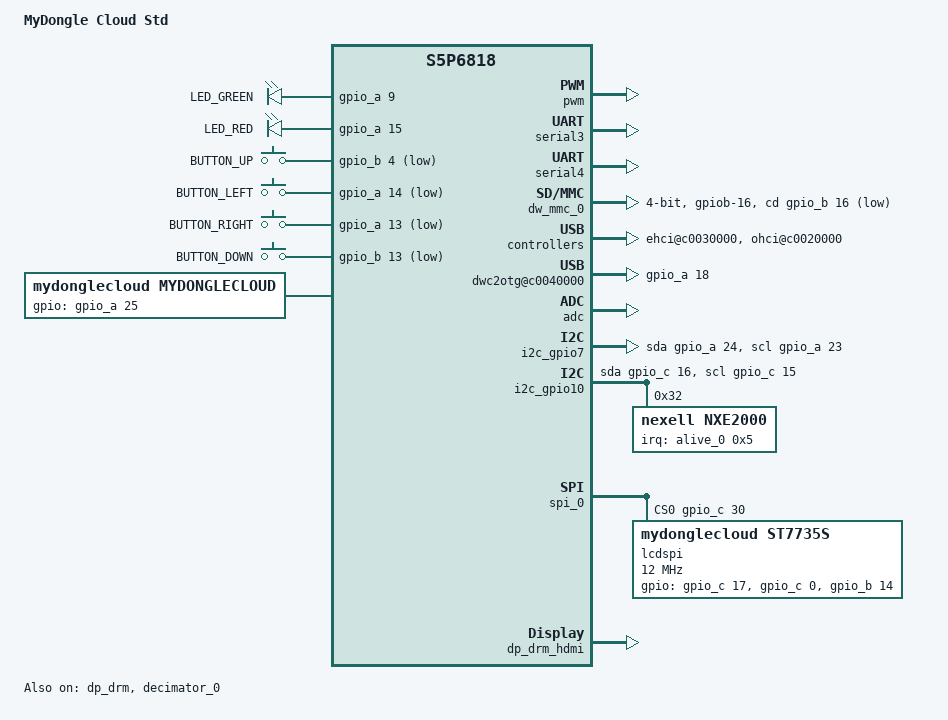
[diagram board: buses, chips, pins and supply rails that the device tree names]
/*
 * Copyright (C) 2016  Nexell Co., Ltd.
 * Author:Youngbok, Park <ybpark@nexell.co.kr>
 *
 * This program is free software; you can redistribute it and/or
 * modify it under the terms of the GNU General Public License
 * as published by the Free Software Foundation; either version 2
 * of the License, or (at your option) any later version.
 *
 * This program is distributed in the hope that it will be useful,
 * but WITHOUT ANY WARRANTY; without even the implied warranty of
 * MERCHANTABILITY or FITNESS FOR A PARTICULAR PURPOSE.  See the
 * GNU General Public License for more details.
 *
 * You should have received a copy of the GNU General Public License
 * along with this program.  If not, see <http://www.gnu.org/licenses/>.
 */

/dts-v1/;
#include <dt-bindings/interrupt-controller/irq.h>
#include <dt-bindings/input/input.h>
#include "s5p6818-artik710.dtsi"

#define PMIC_PDATA_INIT(_id, _rname, _minuv,	\
			_maxuv, _init_uv, _init_enable,		\
			_set_init_uV, _slp_slots)	\
		regulator-name = _rname;		\
		regulator-min-microvolt = <_minuv>;	\
		regulator-max-microvolt = <_maxuv>;	\
		nx,id = <_id>;				\
		nx,init_enable = <_init_enable>;	\
		nx,init_uV = <_init_uv>;		\
		nx,set_init_uV = <_set_init_uV>;	\
		nx,sleep_slots = <_slp_slots>;

/ {
	model = "MyDongle Cloud Std";
	version = "10";
	compatible = "mydonglecloud,artik710-mydonglecloud", "samsung,artik710",
		   "nexell,s5p6818";

	aliases {
		i2c7 = &i2c_gpio7;//HDMI
		i2c10 = &i2c_gpio10;//PMIC
	};

	nx-v4l2 {
		status = "okay";
	};

	nx-devfreq {
		pll = <0>;
		status = "okay";
	};

	soc {

		clocks {
			vip0:vip@c00c1000 { clock-frequency = <300000000>;};
			sdhc0:sdhc@c00c5000 {
				  clk-input = <(I_PLL2 | I_GATE_PCLK)>;
			};
			sdhc1:sdhc@c00cc000 {
				  clk-input = <(I_PLL2 | I_GATE_PCLK)>;
			};
			sdhc2:sdhc@c00cd000 {
				  clk-input = <(I_PLL2 | I_GATE_PCLK)>;
			};
			timer0:timer@c00b9000 {
				  clk-input = <I_PLL2>;
			};
			timer1:timer@c00bb000 {
				  clk-input = <I_PLL2>;
			};
			pwm0:pwm0@c00ba000 {
				  clk-input = <I_PLL2>;
			};
		};

		timer@c0017000 {
			clocks =  <&timer0>, <&timer1>;
			clock-names = "timer0", "timer1";
		};

		pwm:pwm@c0018000 {
			clocks =  <&pwm0>;
			clock-names = "pwm-tclk0";
			#pwm-cells = <3>;
			pinctrl-0 = <&pwm0_pin>;
			samsung,pwm-outputs = <0>;
		};


		serial3:serial@c00a3000 {
			status ="okay";
		};

		serial4:serial@c006d000 {
			status ="okay";
		};

		dw_mmc_0:dw_mmc@c0062000 {
			num-slots = <1>;
			bus-width = <4>;
			cap-sd-highspeed;
			clock-frequency = <100000000>;
			card-detect-delay = <200>;
			disable-wp;
			cd-gpios = <&gpio_b 16 1>;
			//cd-inverted;
			pinctrl-0 = <&sdmmc0_cclk &sdmmc0_cmd &sdmmc0_bus4 &sdcard_cd>;
			nexell,drive_dly = <0x0>;
			nexell,drive_shift = <0x02>;
			nexell,sample_dly = <0x00>;
			nexell,sample_shift = <0x01>;
			status = "okay";
		};

		nexell_usbphy:nexell-usbphy@c0012000 {
			status = "okay";
		};

		ehci@c0030000 {
			samsung,vbus-gpio = <&gpio_a 16 0>;
			status = "okay";
			port@0 {
				status = "okay";
			};
			port@1 {
				status = "okay";
			};
		};

		ohci@c0020000 {
			status = "okay";
			port@0 {
				status = "okay";
			};
		};

		dwc2otg@c0040000 {
			gpios = <&gpio_a 18 0>;
			status = "okay";
		};

		adc:adc@c0053000 {
			status = "okay";
		};

		watchdog@c0019000 {
			status = "okay";
		};

		pinctrl@C0010000 {
			key_pwr:key_pwr {
				nexell,pins = "alive-0";
				nexell,pin-function = <0>;
				nexell,pin-pull = <1>;
				nexell,pin-strength = <0>;
			};

			key_wakeup:key_wakeup {
				nexell,pins = "alive-2";
				nexell,pin-function = <0>;
				nexell,pin-pull = <1>;
				nexell,pin-strength = <0>;
			};

			button_Up:button_Up {
				nexell,pins = "gpiob-4";
				nexell,pin-function = <0>;
				nexell,pin-pull = <1>;
				nexell,pin-strength = <0>;
			};
			button_Down:button_Down {
				nexell,pins = "gpiob-13";
				nexell,pin-function = <0>;
				nexell,pin-pull = <1>;
				nexell,pin-strength = <0>;
			};
			button_Left:button_Left {
				nexell,pins = "gpioa-14";
				nexell,pin-function = <0>;
				nexell,pin-pull = <1>;
				nexell,pin-strength = <0>;
			};
			button_Right:button_Right {
				nexell,pins = "gpioa-13";
				nexell,pin-function = <0>;
				nexell,pin-pull = <1>;
				nexell,pin-strength = <0>;
			};

			led_Green:led_Green {
				nexell,pins = "gpioa-9";
				nexell,pin-function = <0>;
				nexell,pin-pull = <1>;
				nexell,pin-strength = <0>;
			};
			led_Red:led_Red {
				nexell,pins = "gpioa-15";
				nexell,pin-function = <0>;
				nexell,pin-pull = <1>;
				nexell,pin-strength = <0>;
			};

			lcdspi_Bcklit:lcdspi_Bcklit {
				nexell,pins = "gpioc-17";
				nexell,pin-function = <0>;
				nexell,pin-pull = <1>;
				nexell,pin-strength = <0>;
			};
			lcdspi_Wd:lcdspi_Wd {
				nexell,pins = "gpioc-0";
				nexell,pin-function = <0>;
				nexell,pin-pull = <1>;
				nexell,pin-strength = <0>;
			};
			lcdspi_Nrst:lcdspi_Nrst {
				nexell,pins = "gpiob-14";
				nexell,pin-function = <0>;
				nexell,pin-pull = <1>;
				nexell,pin-strength = <0>;
			};
			cc_Nrst:cc_Nrst {
				nexell,pins = "gpioa-25";
				nexell,pin-function = <0>;
				nexell,pin-pull = <1>;
				nexell,pin-strength = <0>;
			};

			pmic_irq:pmic_irq{
				nexell,pins = "alive-5";
				nexell,pin-function = <0>;
				nexell,pin-pull = <1>;
				nexell,pin-strength = <0>;
			};

			sdcard_cd:sdcard_cd {
				nexell,pins = "gpiob-16";
				nexell,pin-function = <2>;
				nexell,pin-pull = <1>;
				nexell,pin-strength = <3>;
			};

		};

		video-codec@c0080000 {
			status = "okay";
			sram = <0 0>;
		};

		vip_0:vip@c0063000 {
			status = "okay";
		};

		scaler@c0066000 {
			status = "okay";
		};
	};	/*** soc ***/

	i2c_gpio7:i2c@7 {//HDMI
		compatible = "i2c-gpio";
		gpios = <&gpio_a 24 0 /* sda */
			&gpio_a 23 0 /* scl */
			>;
		i2c-gpio,delay-us = <1>;
		#address-cells = <1>;
		#size-cells = <0>;
	};

	gpio_led:gpio_leds {
		compatible = "gpio-leds";
		#address-cells = <1>;
		#size-cells = <0>;
		pinctrl-names = "default";
		pinctrl-0 = <&led_Green>, <&led_Red>;
		status = "okay";

		ledGreen: ledGreen {
			label = "LED_GREEN";
			gpios = <&gpio_a 9 0>;
			linux,default-trigger = "none";
		};
		ledRed: ledRed {
			label = "LED_RED";
			gpios = <&gpio_a 15 0>;
			linux,default-trigger = "none";
		};
	};

	gpio_key:gpio_keys {
		compatible = "gpio-keys";
		#address-cells = <1>;
		#size-cells = <0>;
		pinctrl-names = "default";
		pinctrl-0 = <&button_Up>, <&button_Down>, <&button_Left>, <&button_Right>;
		autorepeat;

		buttonUp:buttonUp {
			label = "BUTTON_UP";
			gpios = <&gpio_b 4 1>;
			linux,code = <103>;
			gpio-key;
		};

		buttonleft:buttonLeft {
			label = "BUTTON_LEFT";
			gpios = <&gpio_a 14 1>;
			linux,code = <105>;
			gpio-key;
		};

		buttonRight:buttonRight {
			label = "BUTTON_RIGHT";
			gpios = <&gpio_a 13 1>;
			linux,code = <106>;
			gpio-key;
		};

		buttonDown:buttonDown {
			label = "BUTTON_DOWN";
			gpios = <&gpio_b 13 1>;
			linux,code = <108>;
			gpio-key;
		};

	};

	i2c_gpio10:i2c@10 {//PMIC
		compatible = "i2c-gpio";
		gpios = <&gpio_c 16 0	/* sda */
			&gpio_c 15 0	/* scl */
			>;

		i2c-gpio,delay-us = <1>;	/* ~100kHz */
		#address-cells = <1>;
		#size-cells = <0>;
		status = "okay";

		nxe2000@32 {
			compatible = "nexell,nxe2000";
			reg = <0x32>;
			interrupt-parent = <&alive_0>;
			interrupts = <0x5 IRQ_TYPE_EDGE_FALLING>;
			pinctrl-names = "default";
			pinctrl-0 = <&pmic_irq>;
		};
	};

	regulators {
		VCC_DCDC0:
			dcdc1	{ PMIC_PDATA_INIT( 0,
				"nxe2000_dcdc1",
				900000, 1500000,
				1100000, 1, 0, 0x4)
				regulator-always-on;
				regulator-boot-on;};
		VCC_DCDC1:
			dcdc2	{ PMIC_PDATA_INIT( 1,
				"nxe2000_dcdc2",
				1000000, 1500000,
				1200000, 1, 0, 0x4)
				regulator-always-on;
				regulator-boot-on;};
		VCC_DCDC2:
			dcdc3	{ PMIC_PDATA_INIT( 2,
				"nxe2000_dcdc3",
				1000000, 3500000,
				3300000, 1, 1, 0xF)
				regulator-always-on;
				regulator-boot-on;};
		VCC_DCDC3:
			dcdc4	{ PMIC_PDATA_INIT( 3,
				"nxe2000_dcdc4",
				1000000, 2000000,
				1500000, 1, 0, 0xF)
				regulator-always-on;
				regulator-boot-on;};
		VCC_DCDC4:
			dcdc5	{ PMIC_PDATA_INIT( 4,
				"nxe2000_dcdc5",
				1000000, 2000000,
				1500000, 1, 0, 0x4)
				regulator-always-on;
				regulator-boot-on;};
		VCC_LDO0:
			ldo1	{ PMIC_PDATA_INIT( 5,
				"nxe2000_ldo1",
				1000000, 3500000,
				1300000, 0, 1, 0x0)
				regulator-always-on;
				regulator-boot-on;};
		VCC_LDO1:
			ldo2	{ PMIC_PDATA_INIT( 6,
				"nxe2000_ldo2",
				1000000, 3500000,
				1300000, 0, 1, 0x0)
				regulator-always-on;
				regulator-boot-on;};
		VCC_LDO2:
			ldo3	{ PMIC_PDATA_INIT( 7,
				"nxe2000_ldo3",
				1000000, 3500000,
				1800000, 1, 1, 0xF)
				regulator-always-on;
				regulator-boot-on;};
		VCC_LDO3:
			ldo4	{ PMIC_PDATA_INIT( 8,
				"nxe2000_ldo4",
				1000000, 3500000,
				1700000, 1, 1, 0xF)
				regulator-always-on;
				regulator-boot-on;};
		VCC_LDO4:
			ldo5	{ PMIC_PDATA_INIT( 9,
				"nxe2000_ldo5",
				1000000, 3500000,
				2800000, 1, 1, 0xF)
				regulator-boot-on;};
		VCC_LDO5:
			ldo6	{ PMIC_PDATA_INIT(10,
				"nxe2000_ldo6",
				1000000, 3500000,
				3300000, 1, 1, 0xF)
				regulator-always-on;
				regulator-boot-on;};
		VCC_LDO6:
			ldo7	{ PMIC_PDATA_INIT(11,
				"nxe2000_ldo7",
				1000000, 3500000,
				3300000, 0, 1, 0xF)
				regulator-always-on;
				regulator-boot-on;};
		VCC_LDO7:
			ldo8	{ PMIC_PDATA_INIT(12,
				"nxe2000_ldo8",
				1000000, 3500000,
				3400000, 0, 1, 0xF)
				regulator-always-on;
				regulator-boot-on;};
		VCC_LDO8:
			ldo9	{ PMIC_PDATA_INIT(13,
				"nxe2000_ldo9",
				1000000, 3500000,
				2800000, 0, 1, 0x4)
				regulator-always-on;
				regulator-boot-on;};
		VCC_LDO9:
			ldo10	{ PMIC_PDATA_INIT(14,
				"nxe2000_ldo10",
				1000000, 3500000,
				1300000, 0, 1, 0x4)
				regulator-always-on;
				regulator-boot-on;};
		VCC_RTC0:
			ldortc1	{ PMIC_PDATA_INIT(15,
				"nxe2000_rtc1",
				1700000, 3500000,
				1800000, 1, 1, 0xF)
				regulator-always-on;
				regulator-boot-on;};
		VCC_RTC1:
			ldortc2	{ PMIC_PDATA_INIT(16,
				"nxe2000_rtc2",
				1000000, 3500000,
				1000000, 1, 1, 0xF)
				regulator-always-on;
				regulator-boot-on;};
	}; /* regulators */

	mydonglecloud {
		compatible = "mydonglecloud,mydonglecloud";
		pwm_buzzer = <0>;
		gpios = <&gpio_a 25 0>;//CCNRST
	};
};

&spi_0 {
	status = "okay";
	hierarchy = <0>;
	cs-gpios = <&gpio_c 30 0>;
	lcdspi:lcdspi@0 {
		compatible = "mydonglecloud,st7735s";
		reg = <0>;
		gpios = <&gpio_c 17 0 &gpio_c 0 0 &gpio_b 14 0>;//BCKLIT, WD, NRST
		spi-max-frequency = <12000000>;
		controller-data {
			samsung,spi-feedback-delay = <0>;
		};
	};
};

&pwm {
	status = "okay";
};

&dp_drm {
		status = "okay";
		ports {
				port@0 {
						reg = <0>;
						back_color = < 0x0 >;
						color_key = < 0x0 >;
			plane-names = "video", "primary", "rgb";
		};
				port@1 {
						reg = <1>;
						back_color = < 0x0 >;
						color_key = < 0x0 >;
			plane-names = "video", "primary";
		};
	   };
};

&dp_drm_hdmi {
	ddc-i2c-bus = <&i2c_gpio7>;
	enable-gpios = <&gpio_a 21 0>;
	status = "ok";
	q_range = <0>;
};

&decimator_0 {
	status = "okay";
};
